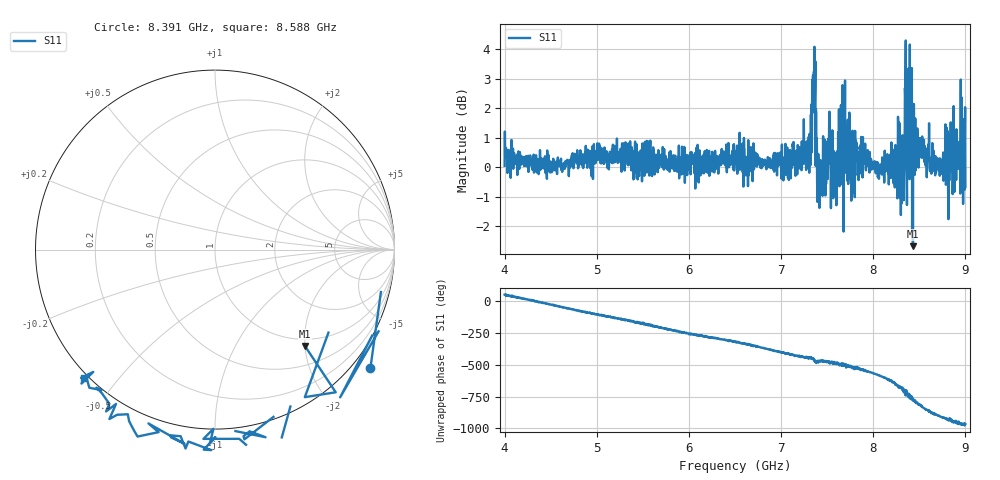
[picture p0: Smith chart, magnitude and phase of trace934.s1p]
! Created with skrf 1.8.0 (http://scikit-rf.org).
# Hz S RI R 50.0
!freq ReS11 ImS11
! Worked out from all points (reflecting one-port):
!   1601 points, 4 GHz to 9 GHz, reference 50 ohm
!   lowest |S11| = -2.7 dB at 8.431 GHz (marker M1), VSWR 6.53, Z = 42.9 - j99.9 ohm
!   phase of S11 starts at 53 deg and turns -1021 deg over the sweep
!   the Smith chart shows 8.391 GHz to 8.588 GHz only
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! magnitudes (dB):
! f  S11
! 4 GHz  0.0
! 4.625 GHz  -0.2
! 5.25 GHz  0.2
! 5.875 GHz  0.0
! 6.5 GHz  0.2
! 7.125 GHz  0.8
! 7.294 GHz  0.7
! 7.309 GHz  1.1
! 7.347 GHz  3.1
! 7.362 GHz  4.1
! 7.4 GHz  -0.1
! 7.416 GHz  -1.4
! 7.538 GHz  0.7
! 7.591 GHz  0.5
! 7.669 GHz  0.9
! 7.75 GHz  -0.1
! 7.891 GHz  0.2
! 8.238 GHz  -0.4
! 8.262 GHz  -1.1
! 8.312 GHz  0.6
! 8.334 GHz  -0.3
! 8.375 GHz  1.2
! 8.412 GHz  0.7
! 8.431 GHz  -2.7
! 8.525 GHz  0.3
! 8.8 GHz  -0.3
! 8.972 GHz  0.6
! 9 GHz  -0.7
